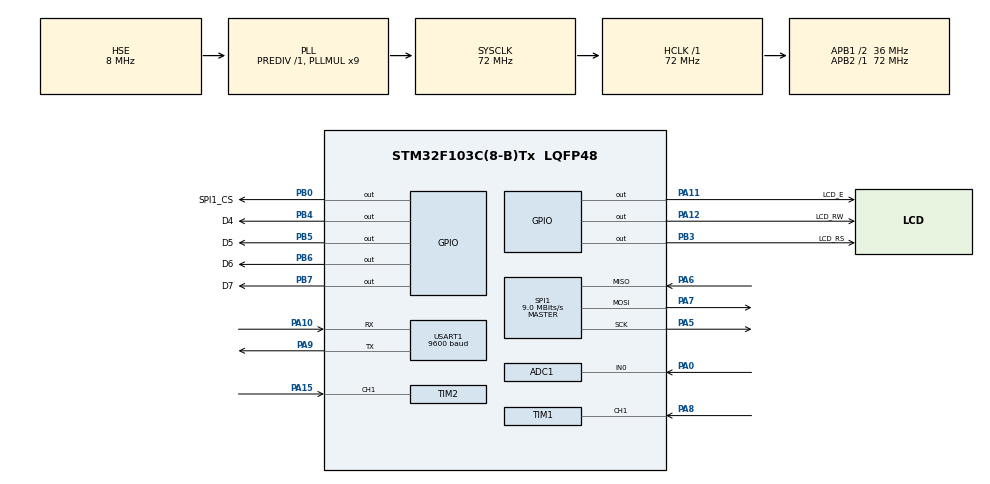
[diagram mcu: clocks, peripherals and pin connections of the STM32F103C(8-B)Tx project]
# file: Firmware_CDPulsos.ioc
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ADC1.Channel-0\#ChannelRegularConversion=ADC_CHANNEL_0
ADC1.NbrOfConversionFlag=1
ADC1.Rank-0\#ChannelRegularConversion=1
ADC1.SamplingTime-0\#ChannelRegularConversion=ADC_SAMPLETIME_1CYCLE_5
ADC1.master=1
FATFS._MAX_SS=4096
FATFS._USE_LFN=1
Mcu.Family=STM32F1
Mcu.Name=STM32F103C(8-B)Tx
Mcu.Package=LQFP48
NVIC.PriorityGroup=NVIC_PRIORITYGROUP_4
PA0-WKUP.Signal=ADCx_IN0
PA10.Mode=Asynchronous
PA10.Signal=USART1_RX
PA11.GPIO_Label=LCD_E
PA11.Signal=GPIO_Output
PA12.GPIO_Label=LCD_RW
PA12.Signal=GPIO_Output
PA13.Mode=Serial_Wire
PA13.Signal=SYS_JTMS-SWDIO
PA14.Mode=Serial_Wire
PA14.Signal=SYS_JTCK-SWCLK
PA15.Signal=S_TIM2_CH1_ETR
PA5.Mode=Full_Duplex_Master
PA5.Signal=SPI1_SCK
PA6.Mode=Full_Duplex_Master
PA6.Signal=SPI1_MISO
PA7.Mode=Full_Duplex_Master
PA7.Signal=SPI1_MOSI
PA8.Signal=S_TIM1_CH1
PA9.Mode=Asynchronous
PA9.Signal=USART1_TX
PB0.GPIO_Label=SPI1_CS
PB0.Signal=GPIO_Output
PB3.GPIO_Label=LCD_RS
PB3.Signal=GPIO_Output
PB4.GPIO_Label=D4
PB4.Signal=GPIO_Output
PB5.GPIO_Label=D5
PB5.Signal=GPIO_Output
PB6.GPIO_Label=D6
PB6.Signal=GPIO_Output
PB7.GPIO_Label=D7
PB7.Signal=GPIO_Output
PD0-OSC_IN.Mode=HSE-External-Oscillator
PD0-OSC_IN.Signal=RCC_OSC_IN
PD1-OSC_OUT.Mode=HSE-External-Oscillator
PD1-OSC_OUT.Signal=RCC_OSC_OUT
ProjectManager.HeapSize=0x200
ProjectManager.StackSize=0x400
ProjectManager.TargetToolchain=STM32CubeIDE
RCC.ADCPresc=RCC_ADCPCLK2_DIV6
RCC.AHBFreq_Value=72000000
RCC.APB1CLKDivider=RCC_HCLK_DIV2
RCC.APB1Freq_Value=36000000
RCC.APB1TimFreq_Value=72000000
RCC.APB2Freq_Value=72000000
RCC.APB2TimFreq_Value=72000000
RCC.HCLKFreq_Value=72000000
RCC.PLLMUL=RCC_PLL_MUL9
RCC.PLLSourceVirtual=RCC_PLLSOURCE_HSE
RCC.SYSCLKFreq_VALUE=72000000
RCC.SYSCLKSource=RCC_SYSCLKSOURCE_PLLCLK
RCC.USBFreq_Value=72000000
SH.ADCx_IN0.0=ADC1_IN0,IN0
SH.S_TIM1_CH1.0=TIM1_CH1,Input_Capture1_from_TI1
SH.S_TIM2_CH1_ETR.0=TIM2_CH1,Input_Capture1_from_TI1
SPI1.BaudRatePrescaler=SPI_BAUDRATEPRESCALER_8
SPI1.CalculateBaudRate=9.0 MBits/s
SPI1.Direction=SPI_DIRECTION_2LINES
SPI1.Mode=SPI_MODE_MASTER
SPI1.VirtualType=VM_MASTER
TIM1.Channel-Input_Capture1_from_TI1=TIM_CHANNEL_1
TIM2.Channel-Input_Capture1_from_TI1=TIM_CHANNEL_1
TIM2.ICPolarity_CH1=TIM_INPUTCHANNELPOLARITY_FALLING
USART1.BaudRate=9600
USART1.VirtualMode=VM_ASYNC
VP_FATFS_VS_Generic.Mode=User_defined
board=custom

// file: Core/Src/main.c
/* USER CODE BEGIN Header */
/**
  ******************************************************************************
  * @file           : main.c
  * @brief          : Main program body
  ******************************************************************************
  * @attention
  *
  * <h2><center>&copy; Copyright (c) 2021 STMicroelectronics.
  * All rights reserved.</center></h2>
  *
  * This software component is licensed by ST under Ultimate Liberty license
  * SLA0044, the "License"; You may not use this file except in compliance with
  * the License. You may obtain a copy of the License at:
  *                             www.st.com/SLA0044
  *
  ******************************************************************************
  */
/* USER CODE END Header */
#include "main.h"
#include "fatfs.h"

/* USER CODE BEGIN Includes */

#include "AppDataTypes/buttons.h"
#include "AppDataTypes/lcd.h"
#include "AppDataTypes/sd_card.h"

#include "fatfs_sd.h"
#include "string.h"

#include "stdio.h"

/* USER CODE END Includes */

ADC_HandleTypeDef hadc1;

SPI_HandleTypeDef hspi1;

TIM_HandleTypeDef htim1;
TIM_HandleTypeDef htim2;

UART_HandleTypeDef huart1;

/* USER CODE BEGIN PV */

FATFS fs;
FIL fil;
FRESULT fresult;
char buffer[100];

uint8_t br,bw;

FATFS *pfs;
DWORD fre_clust;
uint32_t total, free_space;

void send_uart(char * string)
{
	uint8_t len = strlen(string);
	HAL_UART_Transmit(&huart1, (uint8_t *) string, len, 2000);
}

int bufsize(char * buf)
{
	int i=0;
	while(*buf++ != '\0') i++;
	return i;
}

void bufclear(void)
{
	for (int i=0; i<1024; i++)
		buffer[i] = '\0';
}

int _write(int file, char *ptr, int len)
{
	int i=0;
	for (i=0; i<len; i++)
	{
		ITM_SendChar((*ptr++));
	}
	return len;
}

int Mathias, Fumou, Estado;
#define	BRAIN_GPIO_HIGH	GPIO_PIN_RESET
/* USER CODE END PV */

void SystemClock_Config(void);
static void MX_GPIO_Init(void);
static void MX_ADC1_Init(void);
static void MX_SPI1_Init(void);
static void MX_TIM1_Init(void);
static void MX_TIM2_Init(void);
static void MX_USART1_UART_Init(void);

int main(void)
{

  /* MCU Configuration--------------------------------------------------------*/

  /* Reset of all peripherals, Initializes the Flash interface and the Systick. */
  HAL_Init();

  /* Configure the system clock */
  SystemClock_Config();

  /* Initialize all configured peripherals */
  MX_GPIO_Init();
  MX_ADC1_Init();
  MX_SPI1_Init();
  MX_TIM1_Init();
  MX_TIM2_Init();
  MX_USART1_UART_Init();
  MX_FATFS_Init();
  /* USER CODE BEGIN 2 */

  fresult = f_mount(&fs, "", 0);
  if (fresult!=FR_OK)
	  printf("error in mounting SD Card...\n");
  else
	  printf("SD Card mounted sucessfully...\n");

  enum {
	  STATE_0_INIT_PERIPHERALS,
	  STATE_1_WAIT_COMAND,
	  STATE_21_SENSOR1_FUNC,
	  STATE_22_SENSOR2_FUNC,
	  STATE_23_SENSOR3_FUNC,
	  STATE_3_SAVE_DATA
  } main_state_machine;

  uint8_t opt = 0;
  uint8_t b = 0;

  /* USER CODE END 2 */

  /* Infinite loop */
  while (1)
  {

    /* USER CODE BEGIN 3 */
	  switch(main_state_machine)
	  {
	  case STATE_0_INIT_PERIPHERALS:

		  init_peripherals();

		  // EXEMPLO DE UTILIZAÇÃO DO CARTÃO SD -----------------------------
		  fresult = f_open(&fil, "arquivo.txt", FA_OPEN_ALWAYS | FA_READ | FA_WRITE);

		  // Para dar append no arquivo, é necessário utilizar a função f_lseek,
		  // que dá um offset no ponteiro no arquivo
		  fresult = f_lseek(&fil, fil.fsize);

		  fresult = f_puts("Marllon mto loco\n",&fil);

		  fresult = f_close(&fil);

		  fresult = f_open(&fil, "arquivo.txt", FA_READ);

		  f_read(&fil, buffer, fil.fsize, &br);

		  fresult = f_close(&fil);
		  // FIM DO EXEMPLO ------------------------------------------------

		  main_state_machine++;
		  break;

	  case STATE_1_WAIT_COMAND:
		  do {
			  lcd.print_sensors_menu(opt);

			  b = buttons.get_pressed_button();

			  switch(b)
			  {
			  case UP_BUTTON:
				  if (opt<1)
					  opt++;
				  break;
			  case DOWN_BUTTON:
				  if (opt>0)
					  opt--;
				  break;
			  }
		  } while(b =! ENTER_BUTTON);

		  main_state_machine += opt + 1;

		  break;
	  case STATE_21_SENSOR1_FUNC:
		  break;
	  case STATE_22_SENSOR2_FUNC:
		  break;
	  case STATE_23_SENSOR3_FUNC:
		  break;
	  case STATE_3_SAVE_DATA:
		  break;
	  }
  }
  /* USER CODE END 3 */
}

void SystemClock_Config(void)
{
  RCC_OscInitTypeDef RCC_OscInitStruct = {0};
  RCC_ClkInitTypeDef RCC_ClkInitStruct = {0};
  RCC_PeriphCLKInitTypeDef PeriphClkInit = {0};

  /** Initializes the RCC Oscillators according to the specified parameters
  * in the RCC_OscInitTypeDef structure.
  */
  RCC_OscInitStruct.OscillatorType = RCC_OSCILLATORTYPE_HSE;
  RCC_OscInitStruct.HSEState = RCC_HSE_ON;
  RCC_OscInitStruct.HSEPredivValue = RCC_HSE_PREDIV_DIV1;
  RCC_OscInitStruct.HSIState = RCC_HSI_ON;
  RCC_OscInitStruct.PLL.PLLState = RCC_PLL_ON;
  RCC_OscInitStruct.PLL.PLLSource = RCC_PLLSOURCE_HSE;
  RCC_OscInitStruct.PLL.PLLMUL = RCC_PLL_MUL9;
  if (HAL_RCC_OscConfig(&RCC_OscInitStruct) != HAL_OK)
  {
    Error_Handler();
  }
  /** Initializes the CPU, AHB and APB buses clocks
  */
  RCC_ClkInitStruct.ClockType = RCC_CLOCKTYPE_HCLK|RCC_CLOCKTYPE_SYSCLK
                              |RCC_CLOCKTYPE_PCLK1|RCC_CLOCKTYPE_PCLK2;
  RCC_ClkInitStruct.SYSCLKSource = RCC_SYSCLKSOURCE_PLLCLK;
  RCC_ClkInitStruct.AHBCLKDivider = RCC_SYSCLK_DIV1;
  RCC_ClkInitStruct.APB1CLKDivider = RCC_HCLK_DIV2;
  RCC_ClkInitStruct.APB2CLKDivider = RCC_HCLK_DIV1;

  if (HAL_RCC_ClockConfig(&RCC_ClkInitStruct, FLASH_LATENCY_2) != HAL_OK)
  {
    Error_Handler();
  }
  PeriphClkInit.PeriphClockSelection = RCC_PERIPHCLK_ADC;
  PeriphClkInit.AdcClockSelection = RCC_ADCPCLK2_DIV6;
  if (HAL_RCCEx_PeriphCLKConfig(&PeriphClkInit) != HAL_OK)
  {
    Error_Handler();
  }
}

static void MX_ADC1_Init(void)
{

  ADC_ChannelConfTypeDef sConfig = {0};

  /** Common config
  */
  hadc1.Instance = ADC1;
  hadc1.Init.ScanConvMode = ADC_SCAN_DISABLE;
  hadc1.Init.ContinuousConvMode = DISABLE;
  hadc1.Init.DiscontinuousConvMode = DISABLE;
  hadc1.Init.ExternalTrigConv = ADC_SOFTWARE_START;
  hadc1.Init.DataAlign = ADC_DATAALIGN_RIGHT;
  hadc1.Init.NbrOfConversion = 1;
  if (HAL_ADC_Init(&hadc1) != HAL_OK)
  {
    Error_Handler();
  }
  /** Configure Regular Channel
  */
  sConfig.Channel = ADC_CHANNEL_0;
  sConfig.Rank = ADC_REGULAR_RANK_1;
  sConfig.SamplingTime = ADC_SAMPLETIME_1CYCLE_5;
  if (HAL_ADC_ConfigChannel(&hadc1, &sConfig) != HAL_OK)
  {
    Error_Handler();
  }

}

static void MX_SPI1_Init(void)
{

  /* SPI1 parameter configuration*/
  hspi1.Instance = SPI1;
  hspi1.Init.Mode = SPI_MODE_MASTER;
  hspi1.Init.Direction = SPI_DIRECTION_2LINES;
  hspi1.Init.DataSize = SPI_DATASIZE_8BIT;
  hspi1.Init.CLKPolarity = SPI_POLARITY_LOW;
  hspi1.Init.CLKPhase = SPI_PHASE_1EDGE;
  hspi1.Init.NSS = SPI_NSS_SOFT;
  hspi1.Init.BaudRatePrescaler = SPI_BAUDRATEPRESCALER_8;
  hspi1.Init.FirstBit = SPI_FIRSTBIT_MSB;
  hspi1.Init.TIMode = SPI_TIMODE_DISABLE;
  hspi1.Init.CRCCalculation = SPI_CRCCALCULATION_DISABLE;
  hspi1.Init.CRCPolynomial = 10;
  if (HAL_SPI_Init(&hspi1) != HAL_OK)
  {
    Error_Handler();
  }

}

static void MX_TIM1_Init(void)
{

  TIM_MasterConfigTypeDef sMasterConfig = {0};
  TIM_IC_InitTypeDef sConfigIC = {0};

  htim1.Instance = TIM1;
  htim1.Init.Prescaler = 0;
  htim1.Init.CounterMode = TIM_COUNTERMODE_UP;
  htim1.Init.Period = 65535;
  htim1.Init.ClockDivision = TIM_CLOCKDIVISION_DIV1;
  htim1.Init.RepetitionCounter = 0;
  htim1.Init.AutoReloadPreload = TIM_AUTORELOAD_PRELOAD_DISABLE;
  if (HAL_TIM_IC_Init(&htim1) != HAL_OK)
  {
    Error_Handler();
  }
  sMasterConfig.MasterOutputTrigger = TIM_TRGO_RESET;
  sMasterConfig.MasterSlaveMode = TIM_MASTERSLAVEMODE_DISABLE;
  if (HAL_TIMEx_MasterConfigSynchronization(&htim1, &sMasterConfig) != HAL_OK)
  {
    Error_Handler();
  }
  sConfigIC.ICPolarity = TIM_INPUTCHANNELPOLARITY_RISING;
  sConfigIC.ICSelection = TIM_ICSELECTION_DIRECTTI;
  sConfigIC.ICPrescaler = TIM_ICPSC_DIV1;
  sConfigIC.ICFilter = 0;
  if (HAL_TIM_IC_ConfigChannel(&htim1, &sConfigIC, TIM_CHANNEL_1) != HAL_OK)
  {
    Error_Handler();
  }

}

static void MX_TIM2_Init(void)
{

  TIM_MasterConfigTypeDef sMasterConfig = {0};
  TIM_IC_InitTypeDef sConfigIC = {0};

  htim2.Instance = TIM2;
  htim2.Init.Prescaler = 0;
  htim2.Init.CounterMode = TIM_COUNTERMODE_UP;
  htim2.Init.Period = 65535;
  htim2.Init.ClockDivision = TIM_CLOCKDIVISION_DIV1;
  htim2.Init.AutoReloadPreload = TIM_AUTORELOAD_PRELOAD_DISABLE;
  if (HAL_TIM_IC_Init(&htim2) != HAL_OK)
  {
    Error_Handler();
  }
  sMasterConfig.MasterOutputTrigger = TIM_TRGO_RESET;
  sMasterConfig.MasterSlaveMode = TIM_MASTERSLAVEMODE_DISABLE;
  if (HAL_TIMEx_MasterConfigSynchronization(&htim2, &sMasterConfig) != HAL_OK)
  {
    Error_Handler();
  }
  sConfigIC.ICPolarity = TIM_INPUTCHANNELPOLARITY_FALLING;
  sConfigIC.ICSelection = TIM_ICSELECTION_DIRECTTI;
  sConfigIC.ICPrescaler = TIM_ICPSC_DIV1;
  sConfigIC.ICFilter = 0;
  if (HAL_TIM_IC_ConfigChannel(&htim2, &sConfigIC, TIM_CHANNEL_1) != HAL_OK)
  {
    Error_Handler();
  }

}

static void MX_USART1_UART_Init(void)
{

  huart1.Instance = USART1;
  huart1.Init.BaudRate = 9600;
  huart1.Init.WordLength = UART_WORDLENGTH_8B;
  huart1.Init.StopBits = UART_STOPBITS_1;
  huart1.Init.Parity = UART_PARITY_NONE;
  huart1.Init.Mode = UART_MODE_TX_RX;
  huart1.Init.HwFlowCtl = UART_HWCONTROL_NONE;
  huart1.Init.OverSampling = UART_OVERSAMPLING_16;
  if (HAL_UART_Init(&huart1) != HAL_OK)
  {
    Error_Handler();
  }

}

static void MX_GPIO_Init(void)
{
  GPIO_InitTypeDef GPIO_InitStruct = {0};

  /* GPIO Ports Clock Enable */
  __HAL_RCC_GPIOD_CLK_ENABLE();
  __HAL_RCC_GPIOA_CLK_ENABLE();
  __HAL_RCC_GPIOB_CLK_ENABLE();

  /*Configure GPIO pin Output Level */
  HAL_GPIO_WritePin(GPIOB, SPI1_CS_Pin|LCD_RS_Pin|D4_Pin|D5_Pin
                          |D6_Pin|D7_Pin, GPIO_PIN_RESET);

  /*Configure GPIO pin Output Level */
  HAL_GPIO_WritePin(GPIOA, LCD_E_Pin|LCD_RW_Pin, GPIO_PIN_RESET);

  /*Configure GPIO pins : SPI1_CS_Pin LCD_RS_Pin D4_Pin D5_Pin
                           D6_Pin D7_Pin */
  GPIO_InitStruct.Pin = SPI1_CS_Pin|LCD_RS_Pin|D4_Pin|D5_Pin
                          |D6_Pin|D7_Pin;
  GPIO_InitStruct.Mode = GPIO_MODE_OUTPUT_PP;
  GPIO_InitStruct.Pull = GPIO_NOPULL;
  GPIO_InitStruct.Speed = GPIO_SPEED_FREQ_LOW;
  HAL_GPIO_Init(GPIOB, &GPIO_InitStruct);

  /*Configure GPIO pins : LCD_E_Pin LCD_RW_Pin */
  GPIO_InitStruct.Pin = LCD_E_Pin|LCD_RW_Pin;
  GPIO_InitStruct.Mode = GPIO_MODE_OUTPUT_PP;
  GPIO_InitStruct.Pull = GPIO_NOPULL;
  GPIO_InitStruct.Speed = GPIO_SPEED_FREQ_LOW;
  HAL_GPIO_Init(GPIOA, &GPIO_InitStruct);

}

void Error_Handler(void)
{
  __disable_irq();
  while (1)
  {
  }
}

/************************ (C) COPYRIGHT STMicroelectronics *****END OF FILE****/
